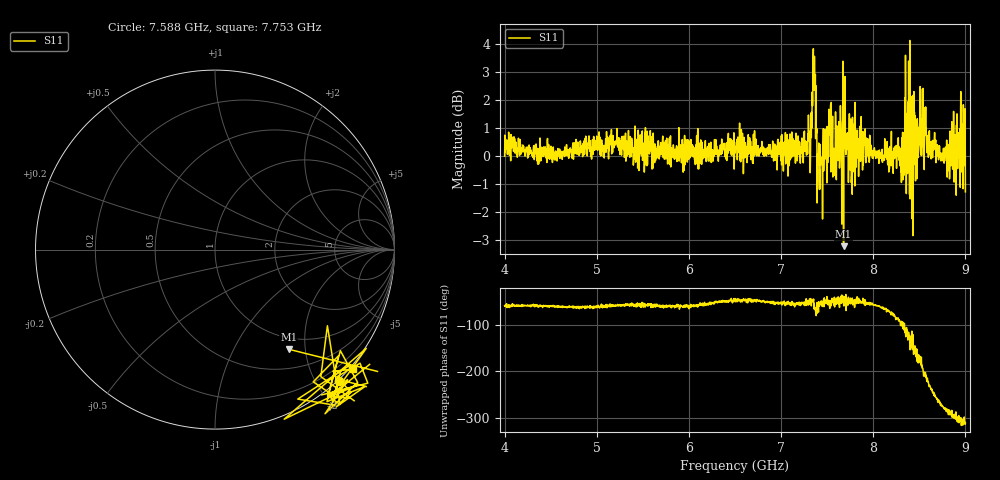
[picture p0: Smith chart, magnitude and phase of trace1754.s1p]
! Created with skrf 1.8.0 (http://scikit-rf.org).
# Hz S RI R 50.0
!freq ReS11 ImS11
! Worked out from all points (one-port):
!   1601 points, 4 GHz to 9 GHz, reference 50 ohm
!   lowest |S11| = -3.2 dB at 7.678 GHz (marker M1), VSWR 5.47, Z = 39.9 - j84.7 ohm
!   |S11| at or under -10 dB: nowhere
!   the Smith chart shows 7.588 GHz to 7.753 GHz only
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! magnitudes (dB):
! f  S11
! 4 GHz  0.0
! 4.625 GHz  -0.1
! 5.25 GHz  0.1
! 5.875 GHz  0.1
! 6.5 GHz  0.1
! 7.125 GHz  0.0
! 7.294 GHz  0.6
! 7.356 GHz  3.5
! 7.372 GHz  2.9
! 7.4 GHz  0.0
! 7.425 GHz  0.4
! 7.534 GHz  1.0
! 7.575 GHz  0.0
! 7.631 GHz  0.8
! 7.678 GHz  -3.2
! 7.75 GHz  -0.5
! 7.891 GHz  -0.3
! 8.316 GHz  0.3
! 8.331 GHz  -0.7
! 8.375 GHz  0.6
! 8.447 GHz  1.6
! 8.459 GHz  -0.9
! 8.475 GHz  -0.8
! 8.553 GHz  -0.5
! 8.612 GHz  0.1
! 8.825 GHz  0.1
! 8.972 GHz  0.0
! 9 GHz  -1.3
